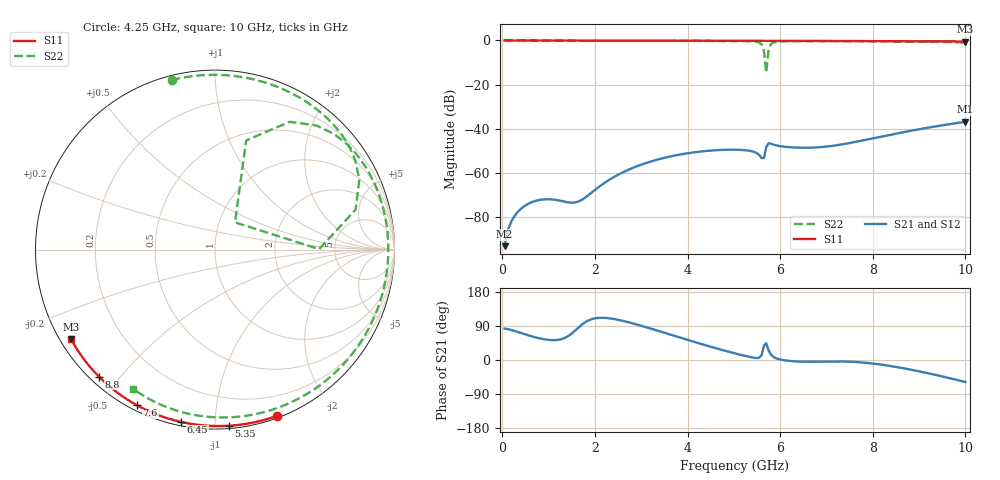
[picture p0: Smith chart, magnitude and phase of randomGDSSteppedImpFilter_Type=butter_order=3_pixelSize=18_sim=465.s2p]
! freq	dB(S11)	phase(S11)	dB(S12)	phase(S12)
!  dB(S21)	phase(S21)	dB(S22)	phase(S22)
!S-par simulation data
#  GHz  S  DB  R 50
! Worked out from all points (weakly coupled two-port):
!   200 points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, 50 MHz to 10 GHz, reference 50 ohm
!   highest |S21| = -36.81 dB at 10 GHz (marker M1); lowest = -93.1 dB at 50 MHz (marker M2)
!   lowest |S11| = -0.5 dB at 10 GHz (marker M3), VSWR 34.60, Z = 1.56 - j14.2 ohm
!   |S11| at or under -10 dB: nowhere
!   |S22| runs from -14.5 to 0.0 dB; largest |S21 - S12| = 0
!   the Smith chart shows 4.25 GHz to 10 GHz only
!   S11 on the Smith chart (normalised r, x): 4.25 GHz: 0.02, -1.44; 5.35 GHz: 0.02, -1.08; 6.45 GHz: 0.02, -0.82; 7.6 GHz: 0.02, -0.62; 8.8 GHz: 0.03, -0.44; 10 GHz: 0.03, -0.28
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0.05  -0.00 -0.9  -93.10 82.8  -93.10 82.8  -0.05 -3.8
0.45  -0.01 -7.7  -75.38 69.4  -75.38 69.4  -0.06 -33.9
0.9  -0.02 -15.4  -71.92 54.8  -71.92 54.8  -0.08 -66.4
1.3  -0.03 -22.2  -72.74 56.0  -72.74 56.0  -0.11 -93.6
1.75  -0.04 -29.7  -71.69 96.2  -71.69 96.2  -0.13 -122.0
2.55  -0.06 -42.8  -60.23 104.8  -60.23 104.8  -0.16 -167.9
3.4  -0.08 -56.3  -53.65 75.7  -53.65 75.7  -0.19 147.3
4.25  -0.10 -69.4  -50.35 44.0  -50.35 44.0  -0.22 104.4
5.05  -0.13 -81.3  -49.44 16.7  -49.44 16.7  -0.27 63.6
5.35  -0.14 -85.6  -49.96 7.9  -49.96 7.9  -0.37 45.8
5.6  -0.15 -89.2  -53.23 13.1  -53.23 13.1  -1.79 15.9
5.65  -0.15 -89.9  -53.19 37.9  -53.19 37.9  -4.73 0.2
5.7  -0.15 -90.6  -48.27 44.1  -48.27 44.1  -14.51 53.8
5.75  -0.15 -91.3  -46.50 25.4  -46.50 25.4  -3.98 74.1
5.8  -0.16 -92.0  -46.70 14.3  -46.70 14.3  -1.68 59.7
6  -0.17 -94.8  -47.83 1.4  -47.83 1.4  -0.46 35.6
6.45  -0.19 -101.1  -48.54 -4.4  -48.54 -4.4  -0.31 11.0
6.7  -0.20 -104.5  -48.49 -4.7  -48.49 -4.7  -0.30 0.0
7.6  -0.26 -116.6  -46.02 -5.1  -46.02 -5.1  -0.35 -35.0
8.35  -0.32 -126.5  -42.79 -15.2  -42.79 -15.2  -0.43 -61.3
8.8  -0.37 -132.4  -40.95 -24.9  -40.95 -24.9  -0.50 -76.5
10  -0.50 -148.2  -36.81 -58.2  -36.81 -58.2  -0.91 -120.3
